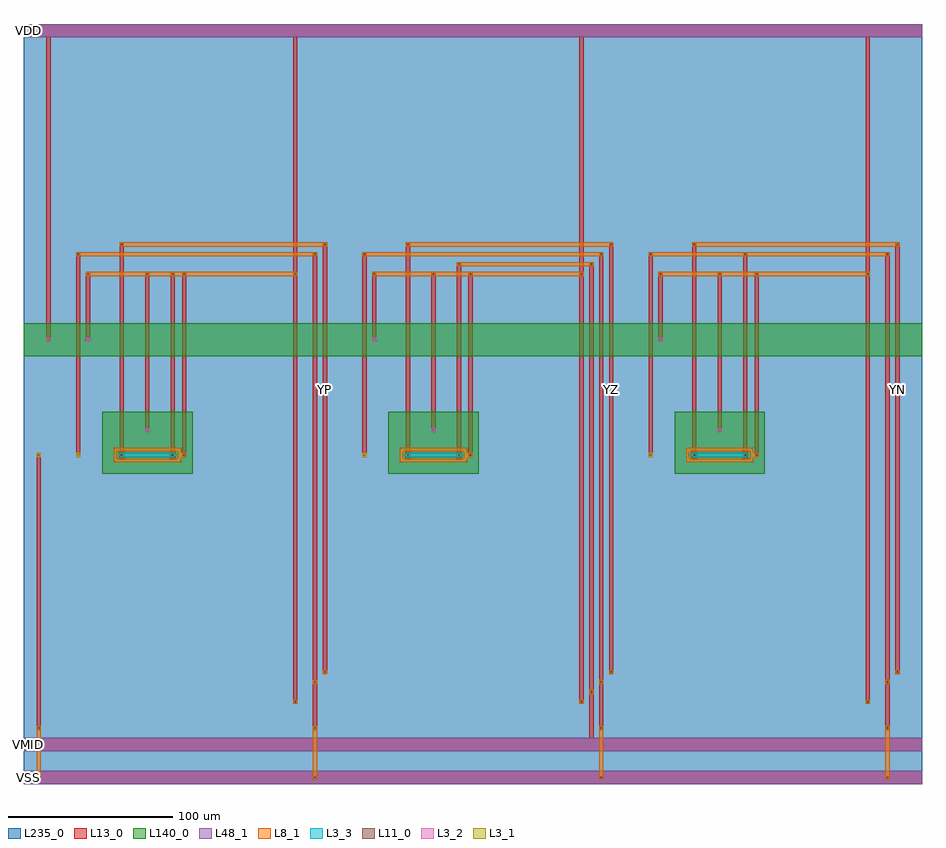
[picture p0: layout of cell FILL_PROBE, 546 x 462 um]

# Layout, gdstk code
import gdstk
lib = gdstk.Library(unit=1e-6, precision=1e-09)
def R(c, l, rs):  # rectangles x0, y0, x1, y1
    for r in rs: c.add(gdstk.rectangle(r[:2], r[2:], *l))
def P(c, l, *ps):  # polygons
    for p in ps: c.add(gdstk.Polygon(p, *l))
L3_1 = (3, 1)
L3_2 = (3, 2)
L3_3 = (3, 3)
L8_1 = (8, 1)
L11_0 = (11, 0)
L13_0 = (13, 0)
L48_1 = (48, 1)
L140_0 = (140, 0)
L235_0 = (235, 0)

cont_n__fill = lib.new_cell('cont_n__FILL')
R(cont_n__fill, L3_2, [(-1.3,-1.3,1.3,1.3)])
R(cont_n__fill, L11_0, [(-0.5,-0.5,0.5,0.5)])
R(cont_n__fill, L13_0, [(-1.3,-1.3,1.3,1.3)])

cont_p__fill = lib.new_cell('cont_p__FILL')
R(cont_p__fill, L3_1, [(-1.3,-1.3,1.3,1.3)])
R(cont_p__fill, L11_0, [(-0.5,-0.5,0.5,0.5)])
R(cont_p__fill, L13_0, [(-1.3,-1.3,1.3,1.3)])

cont_g__fill = lib.new_cell('cont_g__FILL')
R(cont_g__fill, L8_1, [(-1.3,-1.3,1.3,1.3)])
R(cont_g__fill, L11_0, [(-0.5,-0.5,0.5,0.5)])
R(cont_g__fill, L13_0, [(-1.3,-1.3,1.3,1.3)])

fill = lib.new_cell('FILL')
R(fill, L8_1, [(7.7,2.7,10.3,35.3)])
R(fill, L13_0, [(0,0,24,8), (0,20,24,28), (7.7,32.7,10.3,201.3), (13.7,268.7,16.3,459.3), (0,454,24,462)])
R(fill, L48_1, [(0,0,24,8), (0,20,24,28), (0,454,24,462)])
R(fill, L140_0, [(0,260,24,280)])
R(fill, L235_0, [(0,0,24,462)])
fill.add(gdstk.Reference(cont_n__fill, (15,270)))
fill.add(gdstk.Reference(cont_p__fill, (9,200)))
fill.add(gdstk.Reference(cont_g__fill, (9,34)))
fill.add(gdstk.Reference(cont_g__fill, (9,4)))
fill.add(gdstk.Label('VDD', (3,458), layer=48, texttype=0))
fill.add(gdstk.Label('VMID', (3,24), layer=48, texttype=0))
fill.add(gdstk.Label('VSS', (3,4), layer=48, texttype=0))

res_diff__tiep = lib.new_cell('res_diff__TIEP')
P(res_diff__tiep, L3_3, [(-16.5,-1.4),(-17.5,-0.4),(-17.5,0.4),(-16.5,1.4),(16.5,1.4),(17.5,0.4),(17.5,-0.4),(16.5,-1.4)])
P(res_diff__tiep, L8_1, [(-20.5,-4.4),(-20.5,2.4),(-18.5,2.4),(-18.5,-2.4),(18.5,-2.4),(18.5,2.4),(-20.5,2.4),(-20.5,4.4),(20.5,4.4),(20.5,-4.4)])
R(res_diff__tiep, L11_0, [(-16,-0.5,-15,0.5), (15,-0.5,16,0.5)])
R(res_diff__tiep, L13_0, [(-17.2,-1.7,-13.8,1.7), (13.8,-1.7,17.2,1.7)])

cont_n__tiep = lib.new_cell('cont_n__TIEP')
R(cont_n__tiep, L3_2, [(-1.3,-1.3,1.3,1.3)])
R(cont_n__tiep, L11_0, [(-0.5,-0.5,0.5,0.5)])
R(cont_n__tiep, L13_0, [(-1.3,-1.3,1.3,1.3)])

cont_g__tiep = lib.new_cell('cont_g__TIEP')
R(cont_g__tiep, L8_1, [(-1.3,-1.3,1.3,1.3)])
R(cont_g__tiep, L11_0, [(-0.5,-0.5,0.5,0.5)])
R(cont_g__tiep, L13_0, [(-1.3,-1.3,1.3,1.3)])

cont_p__tiep = lib.new_cell('cont_p__TIEP')
R(cont_p__tiep, L3_1, [(-1.3,-1.3,1.3,1.3)])
R(cont_p__tiep, L11_0, [(-0.5,-0.5,0.5,0.5)])
R(cont_p__tiep, L13_0, [(-1.3,-1.3,1.3,1.3)])

tiep = lib.new_cell('TIEP')
R(tiep, L8_1, [(151.7,2.7,154.3,35.3), (70.2,198.7,74.8,201.3), (13.7,308.7,142.3,311.3), (7.7,320.7,154.3,323.3), (34.2,326.7,160.3,329.3)])
R(tiep, L13_0, [(0,0,174,8), (0,20,174,28), (151.7,32.7,154.3,63.3), (139.7,48.7,142.3,311.3), (151.7,60.7,154.3,323.3), (157.7,66.7,160.3,329.3), (7.7,198.7,10.3,323.3), (34.2,198.7,36.8,329.3), (65.2,198.7,67.8,311.3), (72.2,198.7,74.8,311.3), (49.7,213.7,52.3,311.3), (157.3,238.3,160.7,241.7), (13.7,268.7,16.3,311.3), (139.7,308.7,142.3,459.3), (0,454,174,462)])
R(tiep, L48_1, [(0,0,174,8), (0,20,174,28), (157.3,238.3,160.7,241.7), (0,454,174,462)])
R(tiep, L140_0, [(23.5,188.6,78.5,226.4), (0,260,174,280)])
R(tiep, L235_0, [(0,0,174,462)])
tiep.add(gdstk.Reference(res_diff__tiep, (51,200)))
tiep.add(gdstk.Reference(cont_n__tiep, (51,215)))
tiep.add(gdstk.Reference(cont_g__tiep, (73.5,200)))
tiep.add(gdstk.Reference(cont_n__tiep, (15,270)))
tiep.add(gdstk.Reference(cont_p__tiep, (9,200)))
tiep.add(gdstk.Reference(cont_g__tiep, (141,50)))
tiep.add(gdstk.Reference(cont_g__tiep, (66.5,310)))
tiep.add(gdstk.Reference(cont_g__tiep, (51,310)))
tiep.add(gdstk.Reference(cont_g__tiep, (73.5,310)))
tiep.add(gdstk.Reference(cont_g__tiep, (15,310)))
tiep.add(gdstk.Reference(cont_g__tiep, (141,310)))
tiep.add(gdstk.Reference(cont_g__tiep, (153,62)))
tiep.add(gdstk.Reference(cont_g__tiep, (9,322)))
tiep.add(gdstk.Reference(cont_g__tiep, (153,322)))
tiep.add(gdstk.Reference(cont_g__tiep, (153,34)))
tiep.add(gdstk.Reference(cont_g__tiep, (153,4)))
tiep.add(gdstk.Reference(cont_g__tiep, (159,68)))
tiep.add(gdstk.Reference(cont_g__tiep, (35.5,328)))
tiep.add(gdstk.Reference(cont_g__tiep, (159,328)))
tiep.add(gdstk.Label('Y', (159,240), layer=48, texttype=0))
tiep.add(gdstk.Label('VDD', (3,458), layer=48, texttype=0))
tiep.add(gdstk.Label('VMID', (3,24), layer=48, texttype=0))
tiep.add(gdstk.Label('VSS', (3,4), layer=48, texttype=0))

res_diff__tiez = lib.new_cell('res_diff__TIEZ')
P(res_diff__tiez, L3_3, [(-16.5,-1.4),(-17.5,-0.4),(-17.5,0.4),(-16.5,1.4),(16.5,1.4),(17.5,0.4),(17.5,-0.4),(16.5,-1.4)])
P(res_diff__tiez, L8_1, [(-20.5,-4.4),(-20.5,2.4),(-18.5,2.4),(-18.5,-2.4),(18.5,-2.4),(18.5,2.4),(-20.5,2.4),(-20.5,4.4),(20.5,4.4),(20.5,-4.4)])
R(res_diff__tiez, L11_0, [(-16,-0.5,-15,0.5), (15,-0.5,16,0.5)])
R(res_diff__tiez, L13_0, [(-17.2,-1.7,-13.8,1.7), (13.8,-1.7,17.2,1.7)])

cont_n__tiez = lib.new_cell('cont_n__TIEZ')
R(cont_n__tiez, L3_2, [(-1.3,-1.3,1.3,1.3)])
R(cont_n__tiez, L11_0, [(-0.5,-0.5,0.5,0.5)])
R(cont_n__tiez, L13_0, [(-1.3,-1.3,1.3,1.3)])

cont_g__tiez = lib.new_cell('cont_g__TIEZ')
R(cont_g__tiez, L8_1, [(-1.3,-1.3,1.3,1.3)])
R(cont_g__tiez, L11_0, [(-0.5,-0.5,0.5,0.5)])
R(cont_g__tiez, L13_0, [(-1.3,-1.3,1.3,1.3)])

cont_p__tiez = lib.new_cell('cont_p__TIEZ')
R(cont_p__tiez, L3_1, [(-1.3,-1.3,1.3,1.3)])
R(cont_p__tiez, L11_0, [(-0.5,-0.5,0.5,0.5)])
R(cont_p__tiez, L13_0, [(-1.3,-1.3,1.3,1.3)])

tiez = lib.new_cell('TIEZ')
R(tiez, L8_1, [(151.7,2.7,154.3,35.3), (70.2,198.7,74.8,201.3), (13.7,308.7,142.3,311.3), (65.2,314.7,148.3,317.3), (7.7,320.7,154.3,323.3), (34.2,326.7,160.3,329.3)])
R(tiez, L13_0, [(0,0,174,8), (0,20,174,28), (145.7,22.7,148.3,57.3), (151.7,32.7,154.3,63.3), (139.7,48.7,142.3,311.3), (145.7,54.7,148.3,317.3), (151.7,60.7,154.3,323.3), (157.7,66.7,160.3,329.3), (7.7,198.7,10.3,323.3), (34.2,198.7,36.8,329.3), (65.2,198.7,67.8,317.3), (72.2,198.7,74.8,311.3), (49.7,213.7,52.3,311.3), (157.3,238.3,160.7,241.7), (13.7,268.7,16.3,311.3), (139.7,308.7,142.3,459.3), (0,454,174,462)])
R(tiez, L48_1, [(0,0,174,8), (0,20,174,28), (157.3,238.3,160.7,241.7), (0,454,174,462)])
R(tiez, L140_0, [(23.5,188.6,78.5,226.4), (0,260,174,280)])
R(tiez, L235_0, [(0,0,174,462)])
tiez.add(gdstk.Reference(res_diff__tiez, (51,200)))
tiez.add(gdstk.Reference(cont_n__tiez, (51,215)))
tiez.add(gdstk.Reference(cont_g__tiez, (73.5,200)))
tiez.add(gdstk.Reference(cont_n__tiez, (15,270)))
tiez.add(gdstk.Reference(cont_p__tiez, (9,200)))
tiez.add(gdstk.Reference(cont_g__tiez, (141,50)))
tiez.add(gdstk.Reference(cont_g__tiez, (51,310)))
tiez.add(gdstk.Reference(cont_g__tiez, (73.5,310)))
tiez.add(gdstk.Reference(cont_g__tiez, (15,310)))
tiez.add(gdstk.Reference(cont_g__tiez, (141,310)))
tiez.add(gdstk.Reference(cont_g__tiez, (147,56)))
tiez.add(gdstk.Reference(cont_g__tiez, (66.5,316)))
tiez.add(gdstk.Reference(cont_g__tiez, (147,316)))
tiez.add(gdstk.Reference(cont_g__tiez, (153,62)))
tiez.add(gdstk.Reference(cont_g__tiez, (9,322)))
tiez.add(gdstk.Reference(cont_g__tiez, (153,322)))
tiez.add(gdstk.Reference(cont_g__tiez, (153,34)))
tiez.add(gdstk.Reference(cont_g__tiez, (153,4)))
tiez.add(gdstk.Reference(cont_g__tiez, (159,68)))
tiez.add(gdstk.Reference(cont_g__tiez, (35.5,328)))
tiez.add(gdstk.Reference(cont_g__tiez, (159,328)))
tiez.add(gdstk.Label('Y', (159,240), layer=48, texttype=0))
tiez.add(gdstk.Label('VDD', (3,458), layer=48, texttype=0))
tiez.add(gdstk.Label('VMID', (3,24), layer=48, texttype=0))
tiez.add(gdstk.Label('VSS', (3,4), layer=48, texttype=0))

res_diff__tien = lib.new_cell('res_diff__TIEN')
P(res_diff__tien, L3_3, [(-16.5,-1.4),(-17.5,-0.4),(-17.5,0.4),(-16.5,1.4),(16.5,1.4),(17.5,0.4),(17.5,-0.4),(16.5,-1.4)])
P(res_diff__tien, L8_1, [(-20.5,-4.4),(-20.5,2.4),(-18.5,2.4),(-18.5,-2.4),(18.5,-2.4),(18.5,2.4),(-20.5,2.4),(-20.5,4.4),(20.5,4.4),(20.5,-4.4)])
R(res_diff__tien, L11_0, [(-16,-0.5,-15,0.5), (15,-0.5,16,0.5)])
R(res_diff__tien, L13_0, [(-17.2,-1.7,-13.8,1.7), (13.8,-1.7,17.2,1.7)])

cont_n__tien = lib.new_cell('cont_n__TIEN')
R(cont_n__tien, L3_2, [(-1.3,-1.3,1.3,1.3)])
R(cont_n__tien, L11_0, [(-0.5,-0.5,0.5,0.5)])
R(cont_n__tien, L13_0, [(-1.3,-1.3,1.3,1.3)])

cont_g__tien = lib.new_cell('cont_g__TIEN')
R(cont_g__tien, L8_1, [(-1.3,-1.3,1.3,1.3)])
R(cont_g__tien, L11_0, [(-0.5,-0.5,0.5,0.5)])
R(cont_g__tien, L13_0, [(-1.3,-1.3,1.3,1.3)])

cont_p__tien = lib.new_cell('cont_p__TIEN')
R(cont_p__tien, L3_1, [(-1.3,-1.3,1.3,1.3)])
R(cont_p__tien, L11_0, [(-0.5,-0.5,0.5,0.5)])
R(cont_p__tien, L13_0, [(-1.3,-1.3,1.3,1.3)])

tien = lib.new_cell('TIEN')
R(tien, L8_1, [(151.7,2.7,154.3,35.3), (70.2,198.7,74.8,201.3), (13.7,308.7,142.3,311.3), (7.7,320.7,154.3,323.3), (34.2,326.7,160.3,329.3)])
R(tien, L13_0, [(0,0,174,8), (0,20,174,28), (151.7,32.7,154.3,63.3), (139.7,48.7,142.3,311.3), (151.7,60.7,154.3,323.3), (157.7,66.7,160.3,329.3), (7.7,198.7,10.3,323.3), (34.2,198.7,36.8,329.3), (65.2,198.7,67.8,323.3), (72.2,198.7,74.8,311.3), (49.7,213.7,52.3,311.3), (157.3,238.3,160.7,241.7), (13.7,268.7,16.3,311.3), (139.7,308.7,142.3,459.3), (0,454,174,462)])
R(tien, L48_1, [(0,0,174,8), (0,20,174,28), (157.3,238.3,160.7,241.7), (0,454,174,462)])
R(tien, L140_0, [(23.5,188.6,78.5,226.4), (0,260,174,280)])
R(tien, L235_0, [(0,0,174,462)])
tien.add(gdstk.Reference(res_diff__tien, (51,200)))
tien.add(gdstk.Reference(cont_n__tien, (51,215)))
tien.add(gdstk.Reference(cont_g__tien, (73.5,200)))
tien.add(gdstk.Reference(cont_n__tien, (15,270)))
tien.add(gdstk.Reference(cont_p__tien, (9,200)))
tien.add(gdstk.Reference(cont_g__tien, (141,50)))
tien.add(gdstk.Reference(cont_g__tien, (51,310)))
tien.add(gdstk.Reference(cont_g__tien, (73.5,310)))
tien.add(gdstk.Reference(cont_g__tien, (15,310)))
tien.add(gdstk.Reference(cont_g__tien, (141,310)))
tien.add(gdstk.Reference(cont_g__tien, (153,62)))
tien.add(gdstk.Reference(cont_g__tien, (66.5,322)))
tien.add(gdstk.Reference(cont_g__tien, (9,322)))
tien.add(gdstk.Reference(cont_g__tien, (153,322)))
tien.add(gdstk.Reference(cont_g__tien, (153,34)))
tien.add(gdstk.Reference(cont_g__tien, (153,4)))
tien.add(gdstk.Reference(cont_g__tien, (159,68)))
tien.add(gdstk.Reference(cont_g__tien, (35.5,328)))
tien.add(gdstk.Reference(cont_g__tien, (159,328)))
tien.add(gdstk.Label('Y', (159,240), layer=48, texttype=0))
tien.add(gdstk.Label('VDD', (3,458), layer=48, texttype=0))
tien.add(gdstk.Label('VMID', (3,24), layer=48, texttype=0))
tien.add(gdstk.Label('VSS', (3,4), layer=48, texttype=0))

fill_probe = lib.new_cell('FILL_PROBE')
fill_probe.add(gdstk.Reference(fill, (0,0)))
fill_probe.add(gdstk.Reference(tiep, (24,0)))
fill_probe.add(gdstk.Reference(tiez, (198,0)))
fill_probe.add(gdstk.Reference(tien, (372,0)))
fill_probe.add(gdstk.Label('YP', (183,240), layer=48, texttype=0))
fill_probe.add(gdstk.Label('YZ', (357,240), layer=48, texttype=0))
fill_probe.add(gdstk.Label('YN', (531,240), layer=48, texttype=0))
fill_probe.add(gdstk.Label('VDD', (3,458), layer=48, texttype=0))
fill_probe.add(gdstk.Label('VMID', (3,24), layer=48, texttype=0))
fill_probe.add(gdstk.Label('VSS', (3,4), layer=48, texttype=0))

lib.write_gds('FILL_PROBE.gds')
